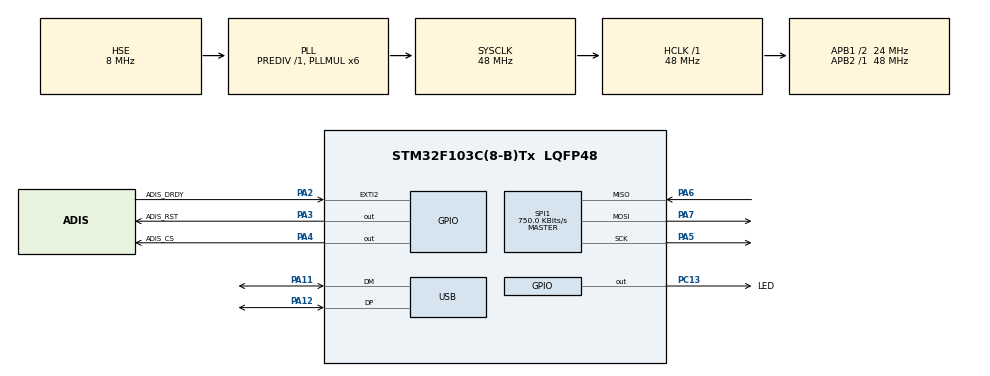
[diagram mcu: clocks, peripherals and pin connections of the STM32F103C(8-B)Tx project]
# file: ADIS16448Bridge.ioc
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Mcu.Family=STM32F1
Mcu.Name=STM32F103C(8-B)Tx
Mcu.Package=LQFP48
NVIC.EXTI2_IRQn=true\:0\:0\:false\:false\:true\:true\:true
NVIC.PriorityGroup=NVIC_PRIORITYGROUP_4
NVIC.TIM1_UP_IRQn=true\:0\:0\:false\:false\:true\:true\:true
NVIC.USB_LP_CAN1_RX0_IRQn=true\:0\:0\:false\:false\:true\:false\:true
PA11.Mode=Device
PA11.Signal=USB_DM
PA12.Mode=Device
PA12.Signal=USB_DP
PA13.Mode=Serial_Wire
PA13.Signal=SYS_JTMS-SWDIO
PA14.Mode=Serial_Wire
PA14.Signal=SYS_JTCK-SWCLK
PA2.GPIO_Label=ADIS_DRDY
PA2.GPIO_PuPd=GPIO_NOPULL
PA2.Signal=GPXTI2
PA3.GPIO_Label=ADIS_RST
PA3.GPIO_ModeDefaultOutputPP=GPIO_MODE_OUTPUT_OD
PA3.GPIO_PuPd=GPIO_PULLUP
PA3.PinState=GPIO_PIN_SET
PA3.Signal=GPIO_Output
PA4.GPIO_Label=ADIS_CS
PA4.PinState=GPIO_PIN_SET
PA4.Signal=GPIO_Output
PA5.Mode=Full_Duplex_Master
PA5.Signal=SPI1_SCK
PA6.Mode=Full_Duplex_Master
PA6.Signal=SPI1_MISO
PA7.Mode=Full_Duplex_Master
PA7.Signal=SPI1_MOSI
PC13-TAMPER-RTC.GPIO_Label=LED
PC13-TAMPER-RTC.Signal=GPIO_Output
PD0-OSC_IN.Mode=HSE-External-Oscillator
PD0-OSC_IN.Signal=RCC_OSC_IN
PD1-OSC_OUT.Mode=HSE-External-Oscillator
PD1-OSC_OUT.Signal=RCC_OSC_OUT
ProjectManager.HeapSize=0x200
ProjectManager.StackSize=0x400
ProjectManager.TargetToolchain=MDK-ARM V5
RCC.AHBFreq_Value=48000000
RCC.APB1CLKDivider=RCC_HCLK_DIV2
RCC.APB1Freq_Value=24000000
RCC.APB1TimFreq_Value=48000000
RCC.APB2Freq_Value=48000000
RCC.APB2TimFreq_Value=48000000
RCC.HCLKFreq_Value=48000000
RCC.PLLMUL=RCC_PLL_MUL6
RCC.SYSCLKFreq_VALUE=48000000
RCC.SYSCLKSource=RCC_SYSCLKSOURCE_PLLCLK
RCC.USBFreq_Value=48000000
SPI1.BaudRatePrescaler=SPI_BAUDRATEPRESCALER_64
SPI1.CLKPhase=SPI_PHASE_2EDGE
SPI1.CLKPolarity=SPI_POLARITY_HIGH
SPI1.CalculateBaudRate=750.0 KBits/s
SPI1.DataSize=SPI_DATASIZE_16BIT
SPI1.Direction=SPI_DIRECTION_2LINES
SPI1.Mode=SPI_MODE_MASTER
SPI1.VirtualType=VM_MASTER
TIM1.Period=100-1
TIM1.Prescaler=48-1
USB_DEVICE.APP_RX_DATA_SIZE=32
USB_DEVICE.APP_TX_DATA_SIZE=32
USB_DEVICE.CLASS_NAME_FS=CDC
USB_DEVICE.MANUFACTURER_STRING=WangFugui
USB_DEVICE.PID_CDC_FS=0x6666
USB_DEVICE.PRODUCT_STRING_CDC_FS=ADIS16448Bridge
USB_DEVICE.VID=0x2333
USB_DEVICE.VirtualMode=Cdc
USB_DEVICE.VirtualModeFS=Cdc_FS
VP_TIM1_VS_ClockSourceINT.Mode=Internal
VP_USB_DEVICE_VS_USB_DEVICE_CDC_FS.Mode=CDC_FS
board=custom

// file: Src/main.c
/* USER CODE BEGIN Header */
/**
  ******************************************************************************
  * @file           : main.c
  * @brief          : Main program body
  ******************************************************************************
  * @attention
  *
  * <h2><center>&copy; Copyright (c) 2020 STMicroelectronics.
  * All rights reserved.</center></h2>
  *
  * This software component is licensed by ST under Ultimate Liberty license
  * SLA0044, the "License"; You may not use this file except in compliance with
  * the License. You may obtain a copy of the License at:
  *                             www.st.com/SLA0044
  *
  ******************************************************************************
  */
/* USER CODE END Header */

#include "main.h"
#include "usb_device.h"

/* USER CODE BEGIN Includes */
#include "usbd_cdc_if.h"
/* USER CODE END Includes */

/* USER CODE BEGIN PTD */

#pragma pack(push)
#pragma pack(1)
typedef struct
{
  int16_t head;
  int16_t gyro[3];
  int16_t acce[3];
  int16_t mag[3];
  int16_t barometer;
  int16_t temperature;
  uint32_t timestamp;
  int16_t checksum;
  int16_t end;
} USB_Frame;
#pragma pack(pop)

/* USER CODE END PTD */

SPI_HandleTypeDef hspi1;

TIM_HandleTypeDef htim1;

/* USER CODE BEGIN PV */
volatile uint32_t clock = 0;
volatile uint32_t timestamp = 0;
volatile char data_ready = 0;
USB_Frame usb_frame;
/* USER CODE END PV */

void SystemClock_Config(void);
static void MX_GPIO_Init(void);
static void MX_SPI1_Init(void);
static void MX_TIM1_Init(void);

int main(void)
{

  /* MCU Configuration--------------------------------------------------------*/

  /* Reset of all peripherals, Initializes the Flash interface and the Systick. */
  HAL_Init();

  /* Configure the system clock */
  SystemClock_Config();

  /* Initialize all configured peripherals */
  MX_GPIO_Init();
  MX_SPI1_Init();
  MX_TIM1_Init();
  MX_USB_DEVICE_Init();
  /* USER CODE BEGIN 2 */
  HAL_TIM_Base_Start_IT(&htim1);
  /* USER CODE END 2 */

  /* Infinite loop */
  while (1)
  {

    /* USER CODE BEGIN 3 */

    if(data_ready){
      data_ready = 0;
      #define ADIS_LEN 13
      static int16_t spi_addrs[ADIS_LEN]={0x3e00}, spi_buf[ADIS_LEN];

      HAL_GPIO_WritePin(ADIS_CS_GPIO_Port, ADIS_CS_Pin, 0);
      HAL_SPI_TransmitReceive(&hspi1,(uint8_t*)spi_addrs,(uint8_t*)&spi_buf,ADIS_LEN,1000);
      HAL_GPIO_WritePin(ADIS_CS_GPIO_Port, ADIS_CS_Pin, 1);

      memcpy((uint8_t *)&usb_frame+2,(uint8_t*)&spi_buf+4,24);
      usb_frame.head = 0x1234;
      usb_frame.end = 0x5678;
      usb_frame.timestamp = timestamp;

      //char cdc_buf[200];
      //sprintf(cdc_buf,"G: %+7.2f %+7.2f %+7.2f  A: %+6.2f %+6.2f %+6.2f T:%7.4f\r\n",gx,gy,gz,ax,ay,az,clock/10000.f);
      CDC_Transmit_FS((uint8_t*)&usb_frame, sizeof(usb_frame));

    }
  }
  /* USER CODE END 3 */
}

void SystemClock_Config(void)
{
  RCC_OscInitTypeDef RCC_OscInitStruct = {0};
  RCC_ClkInitTypeDef RCC_ClkInitStruct = {0};
  RCC_PeriphCLKInitTypeDef PeriphClkInit = {0};

  /** Initializes the CPU, AHB and APB busses clocks
  */
  RCC_OscInitStruct.OscillatorType = RCC_OSCILLATORTYPE_HSE;
  RCC_OscInitStruct.HSEState = RCC_HSE_ON;
  RCC_OscInitStruct.HSEPredivValue = RCC_HSE_PREDIV_DIV1;
  RCC_OscInitStruct.HSIState = RCC_HSI_ON;
  RCC_OscInitStruct.PLL.PLLState = RCC_PLL_ON;
  RCC_OscInitStruct.PLL.PLLSource = RCC_PLLSOURCE_HSE;
  RCC_OscInitStruct.PLL.PLLMUL = RCC_PLL_MUL6;
  if (HAL_RCC_OscConfig(&RCC_OscInitStruct) != HAL_OK)
  {
    Error_Handler();
  }
  /** Initializes the CPU, AHB and APB busses clocks
  */
  RCC_ClkInitStruct.ClockType = RCC_CLOCKTYPE_HCLK|RCC_CLOCKTYPE_SYSCLK
                              |RCC_CLOCKTYPE_PCLK1|RCC_CLOCKTYPE_PCLK2;
  RCC_ClkInitStruct.SYSCLKSource = RCC_SYSCLKSOURCE_PLLCLK;
  RCC_ClkInitStruct.AHBCLKDivider = RCC_SYSCLK_DIV1;
  RCC_ClkInitStruct.APB1CLKDivider = RCC_HCLK_DIV2;
  RCC_ClkInitStruct.APB2CLKDivider = RCC_HCLK_DIV1;

  if (HAL_RCC_ClockConfig(&RCC_ClkInitStruct, FLASH_LATENCY_1) != HAL_OK)
  {
    Error_Handler();
  }
  PeriphClkInit.PeriphClockSelection = RCC_PERIPHCLK_USB;
  PeriphClkInit.UsbClockSelection = RCC_USBCLKSOURCE_PLL;
  if (HAL_RCCEx_PeriphCLKConfig(&PeriphClkInit) != HAL_OK)
  {
    Error_Handler();
  }
}

static void MX_SPI1_Init(void)
{

  /* SPI1 parameter configuration*/
  hspi1.Instance = SPI1;
  hspi1.Init.Mode = SPI_MODE_MASTER;
  hspi1.Init.Direction = SPI_DIRECTION_2LINES;
  hspi1.Init.DataSize = SPI_DATASIZE_16BIT;
  hspi1.Init.CLKPolarity = SPI_POLARITY_HIGH;
  hspi1.Init.CLKPhase = SPI_PHASE_2EDGE;
  hspi1.Init.NSS = SPI_NSS_SOFT;
  hspi1.Init.BaudRatePrescaler = SPI_BAUDRATEPRESCALER_64;
  hspi1.Init.FirstBit = SPI_FIRSTBIT_MSB;
  hspi1.Init.TIMode = SPI_TIMODE_DISABLE;
  hspi1.Init.CRCCalculation = SPI_CRCCALCULATION_DISABLE;
  hspi1.Init.CRCPolynomial = 10;
  if (HAL_SPI_Init(&hspi1) != HAL_OK)
  {
    Error_Handler();
  }

}

static void MX_TIM1_Init(void)
{

  TIM_ClockConfigTypeDef sClockSourceConfig = {0};
  TIM_MasterConfigTypeDef sMasterConfig = {0};

  htim1.Instance = TIM1;
  htim1.Init.Prescaler = 48-1;
  htim1.Init.CounterMode = TIM_COUNTERMODE_UP;
  htim1.Init.Period = 100-1;
  htim1.Init.ClockDivision = TIM_CLOCKDIVISION_DIV1;
  htim1.Init.RepetitionCounter = 0;
  htim1.Init.AutoReloadPreload = TIM_AUTORELOAD_PRELOAD_DISABLE;
  if (HAL_TIM_Base_Init(&htim1) != HAL_OK)
  {
    Error_Handler();
  }
  sClockSourceConfig.ClockSource = TIM_CLOCKSOURCE_INTERNAL;
  if (HAL_TIM_ConfigClockSource(&htim1, &sClockSourceConfig) != HAL_OK)
  {
    Error_Handler();
  }
  sMasterConfig.MasterOutputTrigger = TIM_TRGO_RESET;
  sMasterConfig.MasterSlaveMode = TIM_MASTERSLAVEMODE_DISABLE;
  if (HAL_TIMEx_MasterConfigSynchronization(&htim1, &sMasterConfig) != HAL_OK)
  {
    Error_Handler();
  }

}

static void MX_GPIO_Init(void)
{
  GPIO_InitTypeDef GPIO_InitStruct = {0};

  /* GPIO Ports Clock Enable */
  __HAL_RCC_GPIOC_CLK_ENABLE();
  __HAL_RCC_GPIOD_CLK_ENABLE();
  __HAL_RCC_GPIOA_CLK_ENABLE();

  /*Configure GPIO pin Output Level */
  HAL_GPIO_WritePin(LED_GPIO_Port, LED_Pin, GPIO_PIN_RESET);

  /*Configure GPIO pin Output Level */
  HAL_GPIO_WritePin(GPIOA, ADIS_RST_Pin|ADIS_CS_Pin, GPIO_PIN_SET);

  /*Configure GPIO pin : LED_Pin */
  GPIO_InitStruct.Pin = LED_Pin;
  GPIO_InitStruct.Mode = GPIO_MODE_OUTPUT_PP;
  GPIO_InitStruct.Pull = GPIO_NOPULL;
  GPIO_InitStruct.Speed = GPIO_SPEED_FREQ_LOW;
  HAL_GPIO_Init(LED_GPIO_Port, &GPIO_InitStruct);

  /*Configure GPIO pin : ADIS_DRDY_Pin */
  GPIO_InitStruct.Pin = ADIS_DRDY_Pin;
  GPIO_InitStruct.Mode = GPIO_MODE_IT_RISING;
  GPIO_InitStruct.Pull = GPIO_NOPULL;
  HAL_GPIO_Init(ADIS_DRDY_GPIO_Port, &GPIO_InitStruct);

  /*Configure GPIO pin : ADIS_RST_Pin */
  GPIO_InitStruct.Pin = ADIS_RST_Pin;
  GPIO_InitStruct.Mode = GPIO_MODE_OUTPUT_OD;
  GPIO_InitStruct.Pull = GPIO_PULLUP;
  GPIO_InitStruct.Speed = GPIO_SPEED_FREQ_LOW;
  HAL_GPIO_Init(ADIS_RST_GPIO_Port, &GPIO_InitStruct);

  /*Configure GPIO pin : ADIS_CS_Pin */
  GPIO_InitStruct.Pin = ADIS_CS_Pin;
  GPIO_InitStruct.Mode = GPIO_MODE_OUTPUT_PP;
  GPIO_InitStruct.Pull = GPIO_NOPULL;
  GPIO_InitStruct.Speed = GPIO_SPEED_FREQ_LOW;
  HAL_GPIO_Init(ADIS_CS_GPIO_Port, &GPIO_InitStruct);

  /* EXTI interrupt init*/
  HAL_NVIC_SetPriority(EXTI2_IRQn, 0, 0);
  HAL_NVIC_EnableIRQ(EXTI2_IRQn);

}

/* USER CODE BEGIN 4 */
void HAL_TIM_PeriodElapsedCallback(TIM_HandleTypeDef *htim)
{
  clock++;
}
void HAL_GPIO_EXTI_Callback(uint16_t GPIO_Pin)
{
  timestamp = clock;
  data_ready = 1;
}
/* USER CODE END 4 */

void Error_Handler(void)
{
}

/************************ (C) COPYRIGHT STMicroelectronics *****END OF FILE****/
